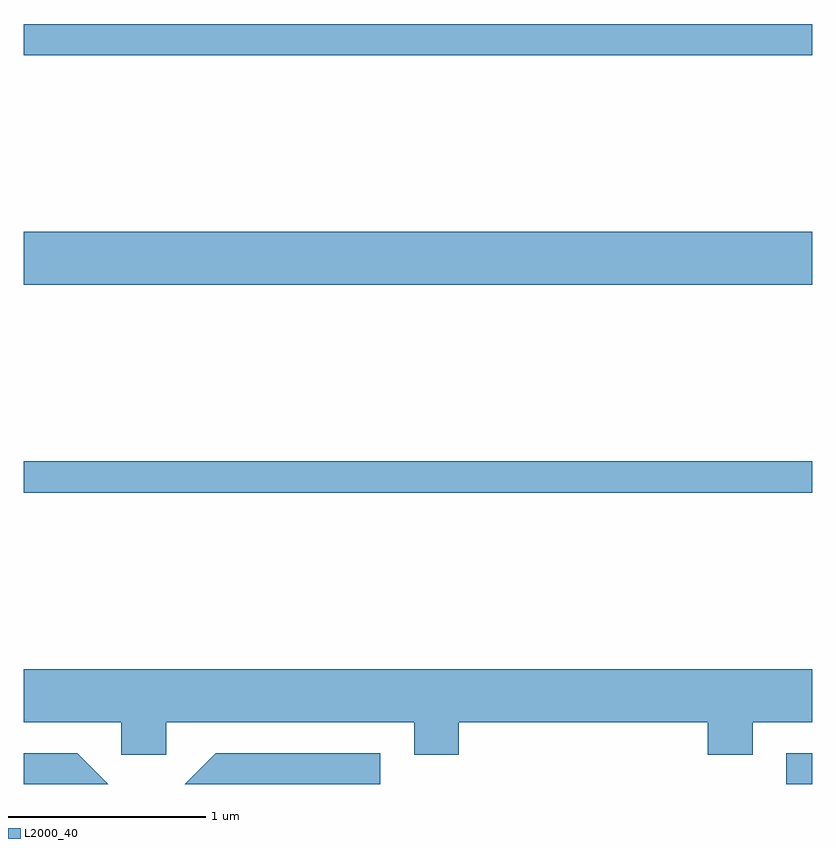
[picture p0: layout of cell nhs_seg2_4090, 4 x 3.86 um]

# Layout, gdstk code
import gdstk
lib = gdstk.Library(unit=1e-6, precision=1e-09)
def R(c, l, rs):  # rectangles x0, y0, x1, y1
    for r in rs: c.add(gdstk.rectangle(r[:2], r[2:], *l))
def P(c, l, *ps):  # polygons
    for p in ps: c.add(gdstk.Polygon(p, *l))
L2000_40 = (2000, 40)

nhs_seg2_4090 = lib.new_cell('nhs_seg2_4090')
R(nhs_seg2_4090, L2000_40, [(309.481,1025.802,309.611,1025.959), (305.611,1027.281,309.611,1027.439), (305.611,1028.336,309.611,1028.604), (305.611,1029.501,309.611,1029.659)])
P(nhs_seg2_4090, L2000_40, [(306.334,1026.116),(307.591,1026.116),(307.591,1025.951),(307.819,1025.951),(307.819,1026.116),(309.081,1026.116),(309.081,1025.951),(309.309,1025.951),(309.309,1026.116),(309.611,1026.116),(309.611,1026.384),(305.611,1026.384),(305.611,1026.116),(306.106,1026.116),(306.106,1025.951),(306.334,1025.951)],
  [(307.419,1025.959),(306.584,1025.959),(306.427,1025.802),(307.419,1025.802)],
  [(305.882,1025.959),(305.611,1025.959),(305.611,1025.802),(306.039,1025.802)])

lib.write_gds('nhs_seg2_4090.gds')
